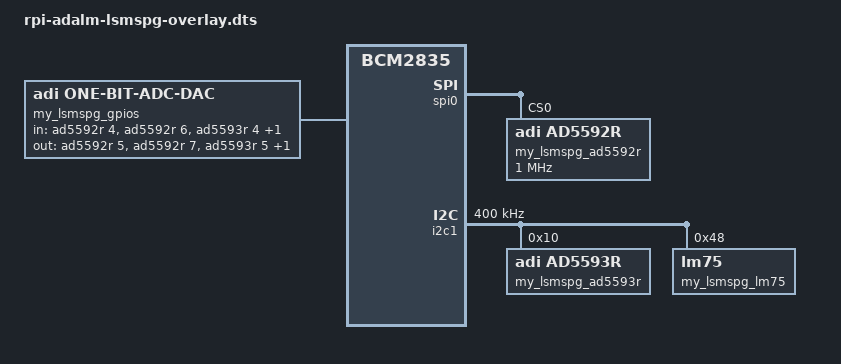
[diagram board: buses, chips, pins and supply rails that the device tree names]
// SPDX-License-Identifier: GPL-2.0
/dts-v1/;
/plugin/;

#include <dt-bindings/iio/adi,ad5592r.h>

/ {
	compatible = "brcm,bcm2835";

	fragment@0 {
		target = <&spidev0>;

		__overlay__ {
			status = "disabled";
		};
	};

	fragment@1 {
		target = <&spi0>;
		__overlay__ {
			#size-cells = <0>;
			#address-cells = <1>;
			status = "okay";

			ad5592r: ad5592r@0 {
				compatible = "adi,ad5592r";
				reg = <0>;
				label = "my_lsmspg_ad5592r";
				spi-max-frequency = <1000000>;
				spi-cpol;
				#gpio-cells = <2>;
				gpio-controller;
				channel@0 {
					reg = <0>;
					adi,mode = <CH_MODE_DAC>;
				};

				channel@1 {
					reg = <1>;
					adi,mode = <CH_MODE_ADC>;
				};

				channel@2 {
					reg = <2>;
					adi,mode = <CH_MODE_DAC_AND_ADC>;
				};

				channel@3 {
					reg = <3>;
					adi,mode = <CH_MODE_DAC_AND_ADC>;
				};

				channel@4 {
					reg = <4>;
					adi,mode = <CH_MODE_GPIO>;
					adi,off-state = <CH_OFFSTATE_PULLDOWN>; // input
				};

				channel@5 {
					reg = <5>;
					adi,mode = <CH_MODE_GPIO>;
					adi,off-state = <CH_OFFSTATE_OUT_LOW>; // output
				};

				channel@6 {
					reg = <6>;
					adi,mode = <CH_MODE_GPIO>;
					adi,off-state = <CH_OFFSTATE_PULLDOWN>; // input
				};

				channel@7 {
					reg = <7>;
					adi,mode = <CH_MODE_GPIO>;
					adi,off-state = <CH_OFFSTATE_OUT_LOW>; // output
				};
			};
		};
	};




	fragment@2 {
		target = <&i2c1>;
		__overlay__ {
		#size-cells = <0>;
		#address-cells = <1>;
		status = "okay";
		clock-frequency = <400000>;

		ad5593r: ad5593r@10 {
			compatible = "adi,ad5593r";
			reg = <0x10>;
			label = "my_lsmspg_ad5593r";
				#gpio-cells = <2>;
				gpio-controller;
				channel@0 {
					reg = <0>;
					adi,mode = <CH_MODE_DAC>;
				};

				channel@1 {
					reg = <1>;
					adi,mode = <CH_MODE_ADC>;
				};

				channel@2 {
					reg = <2>;
					adi,mode = <CH_MODE_DAC_AND_ADC>;
				};

				channel@3 {
					reg = <3>;
					adi,mode = <CH_MODE_DAC_AND_ADC>;
				};

				channel@4 {
					reg = <4>;
					adi,mode = <CH_MODE_GPIO>;
					adi,off-state = <CH_OFFSTATE_PULLDOWN>; // input
				};

				channel@5 {
					reg = <5>;
					adi,mode = <CH_MODE_GPIO>;
					adi,off-state = <CH_OFFSTATE_OUT_LOW>; // output
				};

				channel@6 {
					reg = <6>;
					adi,mode = <CH_MODE_GPIO>;
					adi,off-state = <CH_OFFSTATE_PULLDOWN>; // input
				};

				channel@7 {
					reg = <7>;
					adi,mode = <CH_MODE_GPIO>;
					adi,off-state = <CH_OFFSTATE_OUT_LOW>; // output
				};
			};
		};
	};


	fragment@3 {
		target-path = "/";
		__overlay__ {
			one-bit-adc-dac@0 {
				compatible = "adi,one-bit-adc-dac";
				label = "my_lsmspg_gpios";
				#address-cells = <1>;
				#size-cells = <0>;
				in-gpios = <&ad5592r 4 0>, <&ad5592r 6 0>, <&ad5593r 4 0>, <&ad5593r 6 0>;
				out-gpios = <&ad5592r 5 0>, <&ad5592r 7 0>, <&ad5593r 5 0>, <&ad5593r 7 0>;
				status = "okay";
				channel@0 {
					reg = <0>;
					label = "AD5592R_GPI_CH_4";
				};
				channel@1 {
					reg = <1>;
					label = "AD5592R_GPI_CH_6";
				};
				channel@2 {
					reg = <2>;
					label = "AD5593R_GPI_CH_4";
				};
				channel@3 {
					reg = <3>;
					label = "AD5593R_GPI_CH_4";
				};

				channel@4 {
					reg = <4>;
					label = "AD5592R_GPO_CH_5";
				};
				channel@5 {
					reg = <5>;
					label = "AD5592R_GPO_CH_7";
				};
				channel@6 {
					reg = <6>;
					label = "AD5593R_GPO_CH_5";
				};
				channel@7 {
					reg = <7>;
					label = "AD5593R_GPO_CH_7";
				};

			};
		};
	};

	fragment@4 {
		target = <&i2c1>;
		__overlay__ {
			#size-cells = <0>;
			#address-cells = <1>;
			status = "okay";
			clock-frequency = <400000>;
			lm75: lm75@48 {
				compatible = "lm75";
				reg = <0x48>;
				label = "my_lsmspg_lm75";
			};
		};
	};

	__overrides__ {
		cs_pin = <&ad5592r>,"reg:0";
		lm75_addr = <&lm75>,"reg:0";
		ad5593r_addr = <&ad5593r>, "reg:0";
	};
};
